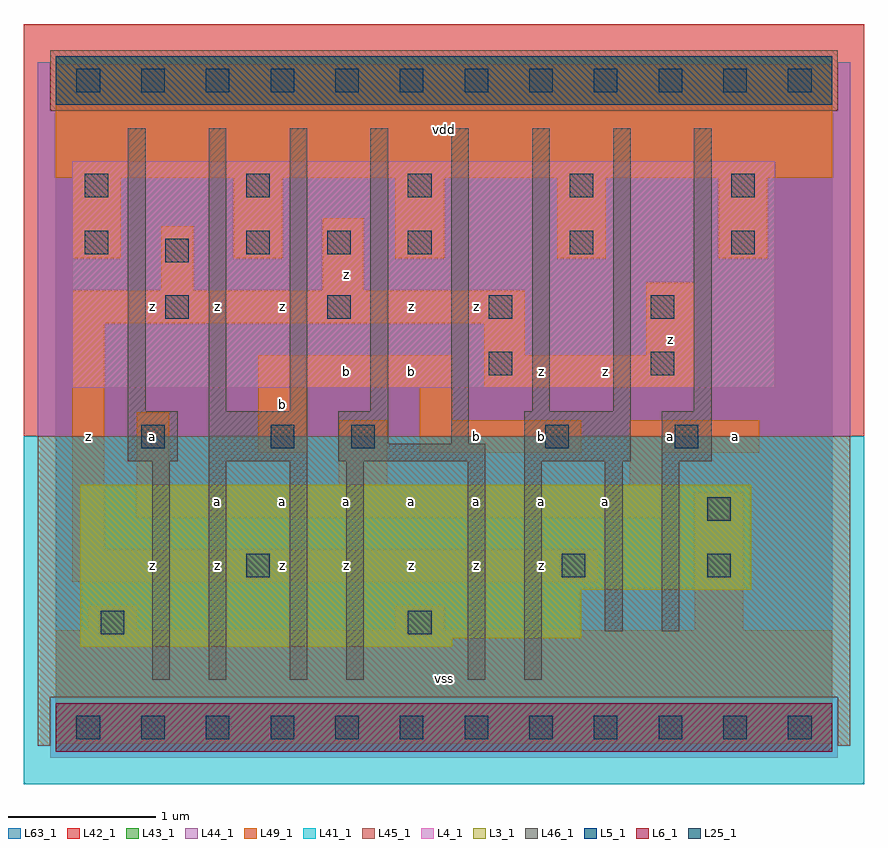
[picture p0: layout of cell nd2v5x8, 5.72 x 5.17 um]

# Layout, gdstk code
import gdstk
lib = gdstk.Library(unit=1e-6, precision=1e-09)
def R(c, l, rs):  # rectangles x0, y0, x1, y1
    for r in rs: c.add(gdstk.rectangle(r[:2], r[2:], *l))
def A(c, l, x, y, w, h, nx, ny, dx, dy):  # array of equal rectangles
    R(c, l, [(x+i*dx, y+j*dy, x+i*dx+w, y+j*dy+h) for i in range(nx) for j in range(ny)])
L3_1 = (3, 1)
L4_1 = (4, 1)
L5_1 = (5, 1)
L6_1 = (6, 1)
L25_1 = (25, 1)
L41_1 = (41, 1)
L42_1 = (42, 1)
L43_1 = (43, 1)
L44_1 = (44, 1)
L45_1 = (45, 1)
L46_1 = (46, 1)
L49_1 = (49, 1)
L63_1 = (63, 1)

nd2v5x8 = lib.new_cell('nd2v5x8')
R(nd2v5x8, L3_1, [(0.165,0.55,2.695,0.605), (0.165,0.605,3.575,0.935), (0.165,0.935,4.73,1.65)])
R(nd2v5x8, L4_1, [(0.11,2.31,4.895,3.85)])
R(nd2v5x8, L5_1, [(0,4.235,5.28,4.565)])
R(nd2v5x8, L6_1, [(0,-0.165,5.28,0.165)])
A(nd2v5x8, L25_1, 0.14, -0.08, 0.16, 0.16, 12, 2, 0.44, 4.4)
A(nd2v5x8, L25_1, 0.745, 2.78, 0.16, 0.16, 4, 1, 1.1, 0)
A(nd2v5x8, L25_1, 1.295, 3.22, 0.16, 0.16, 3, 1, 0.55, 0)
A(nd2v5x8, L25_1, 0.195, 3.605, 0.16, 0.16, 5, 1, 1.1, 0)
R(nd2v5x8, L25_1, [(0.305,0.635,0.465,0.795), (2.395,0.635,2.555,0.795), (1.295,1.02,1.455,1.18), (3.44,1.02,3.6,1.18), (4.43,1.02,4.59,1.18), (4.43,1.405,4.59,1.565), (0.58,1.9,0.74,2.06), (1.46,1.9,1.62,2.06), (2.01,1.9,2.17,2.06), (3.33,1.9,3.49,2.06), (4.21,1.9,4.37,2.06), (2.945,2.395,3.105,2.555), (4.045,2.395,4.205,2.555), (0.745,3.165,0.905,3.325), (0.195,3.22,0.355,3.38), (3.495,3.22,3.655,3.38), (4.595,3.22,4.755,3.38)])
R(nd2v5x8, L41_1, [(-0.22,-0.385,5.5,1.98)])
R(nd2v5x8, L42_1, [(-0.22,1.98,5.5,4.785)])
R(nd2v5x8, L43_1, [(0,-0.165,5.28,0.165), (0.165,0.55,2.695,0.605), (0.165,0.605,3.575,0.935), (0.165,0.935,4.73,1.65), (0.11,2.31,4.895,3.85), (0,4.235,5.28,4.565)])
R(nd2v5x8, L44_1, [(-0.04,-0.205,5.32,0.205), (-0.125,1.98,5.405,4.195), (-0.125,4.195,-0.04,4.525), (5.32,4.195,5.405,4.525)])
R(nd2v5x8, L45_1, [(-0.125,-0.125,-0.04,0.205), (5.32,-0.125,5.405,0.205), (-0.125,0.205,5.405,1.98), (-0.04,4.195,5.32,4.605)])
A(nd2v5x8, L46_1, 0.49, 2.15, 0.12, 1.925, 4, 1, 0.55, 0)
A(nd2v5x8, L46_1, 3.24, 2.15, 0.12, 1.925, 3, 1, 0.55, 0)
R(nd2v5x8, L46_1, [(0.655,0.325,0.775,1.81), (1.04,0.325,1.16,1.81), (1.59,0.325,1.71,1.81), (1.975,0.325,2.095,1.81), (2.8,0.325,2.92,1.81), (3.185,0.325,3.305,1.81), (3.735,0.655,3.855,1.81), (4.12,0.655,4.24,1.81), (0.49,1.81,0.83,2.15), (1.04,1.81,1.71,2.15), (1.92,1.81,2.92,1.93), (3.185,1.81,3.91,2.15), (4.12,1.81,4.46,2.15), (1.92,1.93,2.26,2.15), (2.69,1.93,2.81,4.075)])
A(nd2v5x8, L49_1, 0.11, 3.19, 0.33, 0.55, 5, 1, 1.1, 0)
R(nd2v5x8, L49_1, [(0,-0.11,5.28,0.66), (0.22,0.66,0.55,0.825), (2.31,0.66,2.64,0.825), (4.345,0.66,4.675,1.595), (0.11,0.99,3.685,1.21), (0.11,1.21,0.33,2.75), (0.55,1.43,4.125,1.65), (0.55,1.65,0.77,2.145), (1.925,1.65,2.255,2.09), (3.905,1.65,4.125,1.87), (1.375,1.87,1.705,2.31), (2.475,1.87,3.575,2.09), (3.905,1.87,4.785,2.09), (2.475,2.09,2.695,2.31), (1.375,2.31,2.695,2.53), (2.915,2.31,4.345,2.53), (2.915,2.53,3.19,2.75), (4.015,2.53,4.345,3.025), (0.11,2.75,3.19,2.97), (0.715,2.97,0.935,3.41), (1.815,2.97,2.09,3.465), (0,3.74,5.28,4.51)])
R(nd2v5x8, L63_1, [(0,0,5.28,4.4)])
nd2v5x8.add(gdstk.Label('z', (0.66,1.1), layer=49, texttype=1))
nd2v5x8.add(gdstk.Label('a', (0.66,1.98), layer=49, texttype=1))
nd2v5x8.add(gdstk.Label('z', (0.22,1.98), layer=49, texttype=1))
nd2v5x8.add(gdstk.Label('z', (0.66,2.86), layer=49, texttype=1))
nd2v5x8.add(gdstk.Label('a', (1.1,1.54), layer=49, texttype=1))
nd2v5x8.add(gdstk.Label('z', (1.1,1.1), layer=49, texttype=1))
nd2v5x8.add(gdstk.Label('a', (1.54,1.54), layer=49, texttype=1))
nd2v5x8.add(gdstk.Label('z', (1.54,1.1), layer=49, texttype=1))
nd2v5x8.add(gdstk.Label('b', (1.54,2.2), layer=49, texttype=1))
nd2v5x8.add(gdstk.Label('z', (1.54,2.86), layer=49, texttype=1))
nd2v5x8.add(gdstk.Label('z', (1.1,2.86), layer=49, texttype=1))
nd2v5x8.add(gdstk.Label('vss', (2.64,0.33), layer=49, texttype=1))
nd2v5x8.add(gdstk.Label('a', (1.98,1.54), layer=49, texttype=1))
nd2v5x8.add(gdstk.Label('z', (1.98,1.1), layer=49, texttype=1))
nd2v5x8.add(gdstk.Label('a', (2.86,1.54), layer=49, texttype=1))
nd2v5x8.add(gdstk.Label('z', (2.86,1.1), layer=49, texttype=1))
nd2v5x8.add(gdstk.Label('a', (2.42,1.54), layer=49, texttype=1))
nd2v5x8.add(gdstk.Label('z', (2.42,1.1), layer=49, texttype=1))
nd2v5x8.add(gdstk.Label('b', (1.98,2.42), layer=49, texttype=1))
nd2v5x8.add(gdstk.Label('b', (2.86,1.98), layer=49, texttype=1))
nd2v5x8.add(gdstk.Label('b', (2.42,2.42), layer=49, texttype=1))
nd2v5x8.add(gdstk.Label('z', (2.86,2.86), layer=49, texttype=1))
nd2v5x8.add(gdstk.Label('z', (2.42,2.86), layer=49, texttype=1))
nd2v5x8.add(gdstk.Label('z', (1.98,3.08), layer=49, texttype=1))
nd2v5x8.add(gdstk.Label('vdd', (2.64,4.07), layer=49, texttype=1))
nd2v5x8.add(gdstk.Label('a', (3.3,1.54), layer=49, texttype=1))
nd2v5x8.add(gdstk.Label('z', (3.3,1.1), layer=49, texttype=1))
nd2v5x8.add(gdstk.Label('a', (3.74,1.54), layer=49, texttype=1))
nd2v5x8.add(gdstk.Label('z', (3.3,2.42), layer=49, texttype=1))
nd2v5x8.add(gdstk.Label('b', (3.3,1.98), layer=49, texttype=1))
nd2v5x8.add(gdstk.Label('a', (4.18,1.98), layer=49, texttype=1))
nd2v5x8.add(gdstk.Label('z', (3.74,2.42), layer=49, texttype=1))
nd2v5x8.add(gdstk.Label('z', (4.18,2.64), layer=49, texttype=1))
nd2v5x8.add(gdstk.Label('a', (4.62,1.98), layer=49, texttype=1))

lib.write_gds('nd2v5x8.gds')
